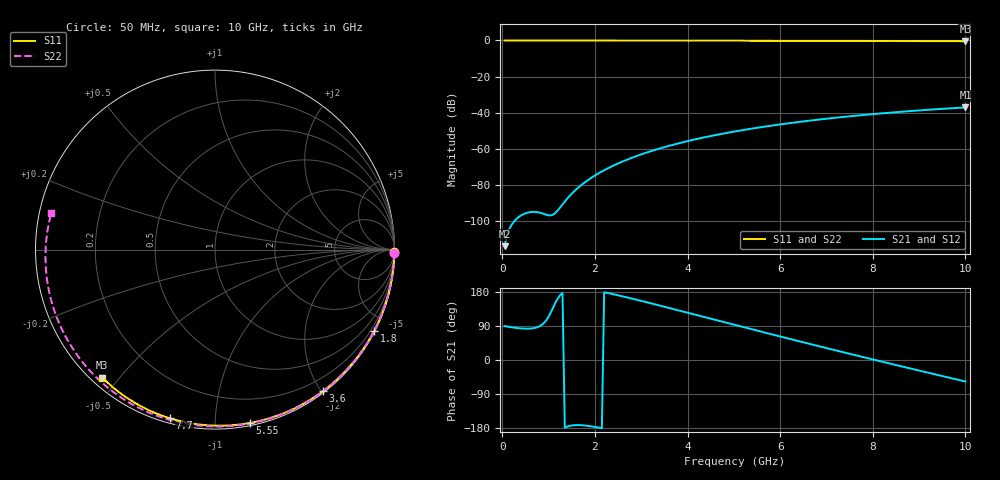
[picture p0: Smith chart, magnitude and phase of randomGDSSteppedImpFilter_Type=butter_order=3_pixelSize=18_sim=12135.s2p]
! freq	dB(S11)	phase(S11)	dB(S12)	phase(S12)
!  dB(S21)	phase(S21)	dB(S22)	phase(S22)
!S-par simulation data
#  GHz  S  DB  R 50
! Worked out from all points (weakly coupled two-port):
!   200 points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, 50 MHz to 10 GHz, reference 50 ohm
!   highest |S21| = -37.02 dB at 10 GHz (marker M1); lowest = -113.7 dB at 50 MHz (marker M2)
!   lowest |S11| = -0.4 dB at 10 GHz (marker M3), VSWR 39.06, Z = 1.54 - j22.6 ohm
!   |S11| at or under -10 dB: nowhere
!   |S22| runs from -0.6 to 0.0 dB; largest |S21 - S12| = 0
!   S11 on the Smith chart (normalised r, x): 50 MHz: open; 1.8 GHz: 0.04, -4.18; 3.6 GHz: 0.02, -2.02; 5.55 GHz: 0.02, -1.22; 7.7 GHz: 0.02, -0.77; 10 GHz: 0.03, -0.45
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0.05  -0.00 -0.8  -113.73 89.5  -113.73 89.5  -0.00 -1.2
0.45  -0.01 -6.8  -96.12 83.0  -96.12 83.0  -0.01 -10.2
0.85  -0.02 -12.8  -95.49 92.5  -95.49 92.5  -0.02 -19.3
1.25  -0.02 -18.8  -92.27 171.0  -92.27 171.0  -0.04 -28.2
1.7  -0.03 -25.4  -80.07 -172.0  -80.07 -172.0  -0.05 -38.1
1.75  -0.03 -26.2  -79.06 -172.4  -79.06 -172.4  -0.05 -39.2
1.8  -0.03 -26.9  -78.10 -173.0  -78.10 -173.0  -0.05 -40.3
2.1  -0.04 -31.3  -73.15 -178.8  -73.15 -178.8  -0.06 -46.7
2.5  -0.05 -37.1  -68.01 170.8  -68.01 170.8  -0.07 -55.2
2.9  -0.06 -42.8  -63.90 159.0  -63.90 159.0  -0.08 -63.5
3.4  -0.07 -49.8  -59.72 143.7  -59.72 143.7  -0.10 -73.6
3.6  -0.07 -52.6  -58.27 137.4  -58.27 137.4  -0.10 -77.6
4.3  -0.09 -62.2  -53.91 115.3  -53.91 115.3  -0.13 -91.1
5.05  -0.11 -72.1  -50.18 91.7  -50.18 91.7  -0.16 -105.1
5.55  -0.13 -78.6  -48.09 76.0  -48.09 76.0  -0.18 -114.2
6.1  -0.15 -85.6  -46.06 59.0  -46.06 59.0  -0.22 -123.9
6.7  -0.18 -93.0  -44.14 40.6  -44.14 40.6  -0.26 -134.4
7.2  -0.21 -99.0  -42.72 25.4  -42.72 25.4  -0.29 -143.0
7.7  -0.24 -105.0  -41.44 10.4  -41.44 10.4  -0.34 -151.7
8.35  -0.29 -112.6  -39.97 -8.9  -39.97 -8.9  -0.40 -163.0
9.2  -0.36 -122.3  -38.32 -33.7  -38.32 -33.7  -0.49 -178.0
10  -0.44 -131.3  -37.02 -56.8  -37.02 -56.8  -0.59 167.2
